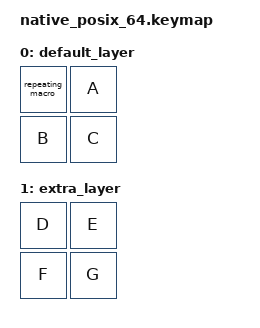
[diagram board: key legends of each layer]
/*
 * Copyright (c) 2025 The ZMK Contributors
 *
 * SPDX-License-Identifier: MIT
 */

#include <dt-bindings/zmk/keys.h>
#include <behaviors.dtsi>
#include <dt-bindings/zmk/kscan_mock.h>

/ {
    macros {
        ZMK_MACRO(
            repeating_macro,
            wait-ms = <10>;
            tap-ms = <50>;
            timeout-ms = <500>;
            period-ms = <250>;
            bindings = <&kp A>;
        )
    };

    keymap {
        compatible = "zmk,keymap";

        default_layer {
            bindings = <
                &repeating_macro &kp A
                &kp B &kp C>;
        };

        extra_layer {
            bindings = <
                &kp D &kp E
                &kp F &kp G>;

        };

    };
};

&kscan {
    /delete-property/ exit-after;
    exit-after-ms = <1000>;
    // FIXME: scheduling an event at 1000ms prevents the timer from running.
    // events = <ZMK_MOCK_PRESS(0,0,20) ZMK_MOCK_RELEASE(0,0,30) ZMK_MOCK_PRESS(0,0,1000) ZMK_MOCK_RELEASE(0,0,1010)>;
    events = <ZMK_MOCK_PRESS(0,0,20) ZMK_MOCK_RELEASE(0,0,30)>;
};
